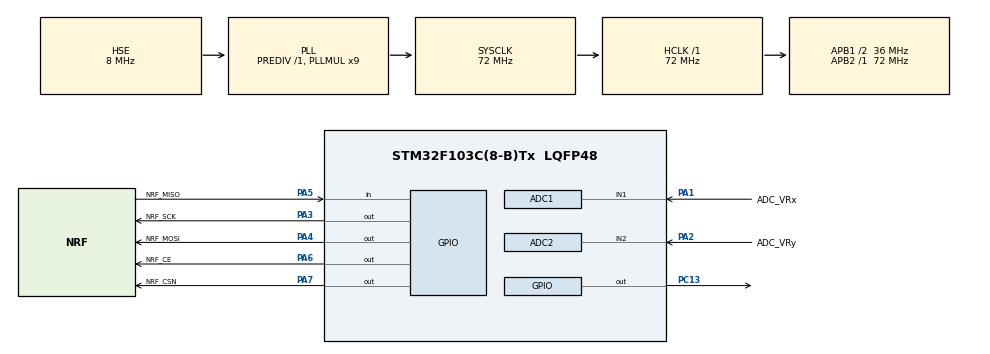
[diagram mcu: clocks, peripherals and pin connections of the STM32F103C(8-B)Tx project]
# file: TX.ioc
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ADC1.Channel-0\#ChannelRegularConversion=ADC_CHANNEL_1
ADC1.ContinuousConvMode=ENABLE
ADC1.NbrOfConversionFlag=1
ADC1.Rank-0\#ChannelRegularConversion=1
ADC1.SamplingTime-0\#ChannelRegularConversion=ADC_SAMPLETIME_1CYCLE_5
ADC1.master=1
ADC2.Channel-0\#ChannelRegularConversion=ADC_CHANNEL_2
ADC2.ContinuousConvMode=ENABLE
ADC2.NbrOfConversionFlag=1
ADC2.Rank-0\#ChannelRegularConversion=1
ADC2.SamplingTime-0\#ChannelRegularConversion=ADC_SAMPLETIME_1CYCLE_5
Mcu.Family=STM32F1
Mcu.Name=STM32F103C(8-B)Tx
Mcu.Package=LQFP48
NVIC.PriorityGroup=NVIC_PRIORITYGROUP_4
PA1.GPIO_Label=ADC_VRx
PA1.Signal=ADCx_IN1
PA13.Mode=Serial_Wire
PA13.Signal=SYS_JTMS-SWDIO
PA14.Mode=Serial_Wire
PA14.Signal=SYS_JTCK-SWCLK
PA2.GPIO_Label=ADC_VRy
PA2.Signal=ADCx_IN2
PA3.GPIO_Label=NRF_SCK
PA3.GPIO_Speed=GPIO_SPEED_FREQ_HIGH
PA3.Signal=GPIO_Output
PA4.GPIO_Label=NRF_MOSI
PA4.GPIO_Speed=GPIO_SPEED_FREQ_HIGH
PA4.Signal=GPIO_Output
PA5.GPIO_Label=NRF_MISO
PA5.Signal=GPIO_Input
PA6.GPIO_Label=NRF_CE
PA6.GPIO_Speed=GPIO_SPEED_FREQ_HIGH
PA6.Signal=GPIO_Output
PA7.GPIO_Label=NRF_CSN
PA7.GPIO_Speed=GPIO_SPEED_FREQ_HIGH
PA7.Signal=GPIO_Output
PC13-TAMPER-RTC.Signal=GPIO_Output
PD0-OSC_IN.Mode=HSE-External-Oscillator
PD0-OSC_IN.Signal=RCC_OSC_IN
PD1-OSC_OUT.Mode=HSE-External-Oscillator
PD1-OSC_OUT.Signal=RCC_OSC_OUT
ProjectManager.HeapSize=0x200
ProjectManager.StackSize=0x400
ProjectManager.TargetToolchain=MDK-ARM V5.32
RCC.ADCPresc=RCC_ADCPCLK2_DIV6
RCC.AHBFreq_Value=72000000
RCC.APB1CLKDivider=RCC_HCLK_DIV2
RCC.APB1Freq_Value=36000000
RCC.APB1TimFreq_Value=72000000
RCC.APB2Freq_Value=72000000
RCC.APB2TimFreq_Value=72000000
RCC.HCLKFreq_Value=72000000
RCC.PLLMUL=RCC_PLL_MUL9
RCC.PLLSourceVirtual=RCC_PLLSOURCE_HSE
RCC.SYSCLKFreq_VALUE=72000000
RCC.SYSCLKSource=RCC_SYSCLKSOURCE_PLLCLK
RCC.USBFreq_Value=72000000
SH.ADCx_IN1.0=ADC1_IN1,IN1
SH.ADCx_IN2.0=ADC2_IN2,IN2
board=MACHPHAT_NRF24L01

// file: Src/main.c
/* USER CODE BEGIN Header */
/**
  ******************************************************************************
  * @file           : main.c
  * @brief          : Main program body
  ******************************************************************************
  * @attention
  *
  * Copyright (c) 2023 STMicroelectronics.
  * All rights reserved.
  *
  * This software is licensed under terms that can be found in the LICENSE file
  * in the root directory of this software component.
  * If no LICENSE file comes with this software, it is provided AS-IS.
  *
  ******************************************************************************
  */
/* USER CODE END Header */
#include "main.h"

/* USER CODE BEGIN Includes */
#include "NRF24L01.h"
/* USER CODE END Includes */

ADC_HandleTypeDef hadc1;
ADC_HandleTypeDef hadc2;

/* USER CODE BEGIN PV */
uint16_t readValue_X = 0;
uint16_t readValue_Y = 0;
uint16_t adc_read = 0;

uint8_t ADC_TXBUFF[9];
/* USER CODE END PV */

void SystemClock_Config(void);
static void MX_GPIO_Init(void);
static void MX_ADC1_Init(void);
static void MX_ADC2_Init(void);

int main(void)
{

  /* MCU Configuration--------------------------------------------------------*/

  /* Reset of all peripherals, Initializes the Flash interface and the Systick. */
  HAL_Init();

  /* Configure the system clock */
  SystemClock_Config();

  /* Initialize all configured peripherals */
  MX_GPIO_Init();
  MX_ADC1_Init();
  MX_ADC2_Init();
  /* USER CODE BEGIN 2 */
	HAL_ADC_Start(&hadc1);
	HAL_ADC_Start(&hadc2);

	//NRF24
	NRF24_Init();
	NRF24_SetTX(); //chon chuc nang gui du lieu
  /* USER CODE END 2 */

  /* Infinite loop */
  /* USER CODE BEGIN WHILE */
  while (1)
  {
		HAL_ADC_PollForConversion(&hadc1, 100);
		readValue_X = HAL_ADC_GetValue(&hadc1);
		HAL_ADC_PollForConversion(&hadc2, 100);
		readValue_Y = HAL_ADC_GetValue(&hadc2);
		//HAL_Delay(10);

		/* change from decimal to character */
		//X-axis
		ADC_TXBUFF[0] = (readValue_X/1000) + 48;
		ADC_TXBUFF[1] = (readValue_X % 1000)/100 + 48;
		ADC_TXBUFF[2] = (readValue_X % 100)/10 + 48;
		ADC_TXBUFF[3] = readValue_X%10 + 48;
		//Y-axis
		ADC_TXBUFF[4] = (readValue_Y/1000) + 48;
		ADC_TXBUFF[5] = (readValue_Y % 1000)/100 + 48;
		ADC_TXBUFF[6] = (readValue_Y % 100)/10 + 48;
		ADC_TXBUFF[7] = readValue_Y%10 + 48;
		ADC_TXBUFF[8] = '\0';

		//send data
		//CTR_nrfSendPacket(ADC_TXBUFF);
		NRF24_Transmit(ADC_TXBUFF);
		NRF24_SetTX();

		HAL_GPIO_TogglePin(GPIOC, GPIO_PIN_13);
		//HAL_Delay(10);
    /* USER CODE END WHILE */

  }
}

void SystemClock_Config(void)
{
  RCC_OscInitTypeDef RCC_OscInitStruct = {0};
  RCC_ClkInitTypeDef RCC_ClkInitStruct = {0};
  RCC_PeriphCLKInitTypeDef PeriphClkInit = {0};

  /** Initializes the RCC Oscillators according to the specified parameters
  * in the RCC_OscInitTypeDef structure.
  */
  RCC_OscInitStruct.OscillatorType = RCC_OSCILLATORTYPE_HSE;
  RCC_OscInitStruct.HSEState = RCC_HSE_ON;
  RCC_OscInitStruct.HSEPredivValue = RCC_HSE_PREDIV_DIV1;
  RCC_OscInitStruct.HSIState = RCC_HSI_ON;
  RCC_OscInitStruct.PLL.PLLState = RCC_PLL_ON;
  RCC_OscInitStruct.PLL.PLLSource = RCC_PLLSOURCE_HSE;
  RCC_OscInitStruct.PLL.PLLMUL = RCC_PLL_MUL9;
  if (HAL_RCC_OscConfig(&RCC_OscInitStruct) != HAL_OK)
  {
    Error_Handler();
  }

  /** Initializes the CPU, AHB and APB buses clocks
  */
  RCC_ClkInitStruct.ClockType = RCC_CLOCKTYPE_HCLK|RCC_CLOCKTYPE_SYSCLK
                              |RCC_CLOCKTYPE_PCLK1|RCC_CLOCKTYPE_PCLK2;
  RCC_ClkInitStruct.SYSCLKSource = RCC_SYSCLKSOURCE_PLLCLK;
  RCC_ClkInitStruct.AHBCLKDivider = RCC_SYSCLK_DIV1;
  RCC_ClkInitStruct.APB1CLKDivider = RCC_HCLK_DIV2;
  RCC_ClkInitStruct.APB2CLKDivider = RCC_HCLK_DIV1;

  if (HAL_RCC_ClockConfig(&RCC_ClkInitStruct, FLASH_LATENCY_2) != HAL_OK)
  {
    Error_Handler();
  }
  PeriphClkInit.PeriphClockSelection = RCC_PERIPHCLK_ADC;
  PeriphClkInit.AdcClockSelection = RCC_ADCPCLK2_DIV6;
  if (HAL_RCCEx_PeriphCLKConfig(&PeriphClkInit) != HAL_OK)
  {
    Error_Handler();
  }
}

static void MX_ADC1_Init(void)
{

  ADC_ChannelConfTypeDef sConfig = {0};

  /** Common config
  */
  hadc1.Instance = ADC1;
  hadc1.Init.ScanConvMode = ADC_SCAN_DISABLE;
  hadc1.Init.ContinuousConvMode = ENABLE;
  hadc1.Init.DiscontinuousConvMode = DISABLE;
  hadc1.Init.ExternalTrigConv = ADC_SOFTWARE_START;
  hadc1.Init.DataAlign = ADC_DATAALIGN_RIGHT;
  hadc1.Init.NbrOfConversion = 1;
  if (HAL_ADC_Init(&hadc1) != HAL_OK)
  {
    Error_Handler();
  }

  /** Configure Regular Channel
  */
  sConfig.Channel = ADC_CHANNEL_1;
  sConfig.Rank = ADC_REGULAR_RANK_1;
  sConfig.SamplingTime = ADC_SAMPLETIME_1CYCLE_5;
  if (HAL_ADC_ConfigChannel(&hadc1, &sConfig) != HAL_OK)
  {
    Error_Handler();
  }

}

static void MX_ADC2_Init(void)
{

  ADC_ChannelConfTypeDef sConfig = {0};

  /** Common config
  */
  hadc2.Instance = ADC2;
  hadc2.Init.ScanConvMode = ADC_SCAN_DISABLE;
  hadc2.Init.ContinuousConvMode = ENABLE;
  hadc2.Init.DiscontinuousConvMode = DISABLE;
  hadc2.Init.ExternalTrigConv = ADC_SOFTWARE_START;
  hadc2.Init.DataAlign = ADC_DATAALIGN_RIGHT;
  hadc2.Init.NbrOfConversion = 1;
  if (HAL_ADC_Init(&hadc2) != HAL_OK)
  {
    Error_Handler();
  }

  /** Configure Regular Channel
  */
  sConfig.Channel = ADC_CHANNEL_2;
  sConfig.Rank = ADC_REGULAR_RANK_1;
  sConfig.SamplingTime = ADC_SAMPLETIME_1CYCLE_5;
  if (HAL_ADC_ConfigChannel(&hadc2, &sConfig) != HAL_OK)
  {
    Error_Handler();
  }

}

static void MX_GPIO_Init(void)
{
  GPIO_InitTypeDef GPIO_InitStruct = {0};

  /* GPIO Ports Clock Enable */
  __HAL_RCC_GPIOC_CLK_ENABLE();
  __HAL_RCC_GPIOD_CLK_ENABLE();
  __HAL_RCC_GPIOA_CLK_ENABLE();

  /*Configure GPIO pin Output Level */
  HAL_GPIO_WritePin(GPIOC, GPIO_PIN_13, GPIO_PIN_RESET);

  /*Configure GPIO pin Output Level */
  HAL_GPIO_WritePin(GPIOA, NRF_SCK_Pin|NRF_MOSI_Pin|NRF_CE_Pin|NRF_CSN_Pin, GPIO_PIN_RESET);

  /*Configure GPIO pin : PC13 */
  GPIO_InitStruct.Pin = GPIO_PIN_13;
  GPIO_InitStruct.Mode = GPIO_MODE_OUTPUT_PP;
  GPIO_InitStruct.Pull = GPIO_NOPULL;
  GPIO_InitStruct.Speed = GPIO_SPEED_FREQ_LOW;
  HAL_GPIO_Init(GPIOC, &GPIO_InitStruct);

  /*Configure GPIO pins : NRF_SCK_Pin NRF_MOSI_Pin NRF_CE_Pin NRF_CSN_Pin */
  GPIO_InitStruct.Pin = NRF_SCK_Pin|NRF_MOSI_Pin|NRF_CE_Pin|NRF_CSN_Pin;
  GPIO_InitStruct.Mode = GPIO_MODE_OUTPUT_PP;
  GPIO_InitStruct.Pull = GPIO_NOPULL;
  GPIO_InitStruct.Speed = GPIO_SPEED_FREQ_HIGH;
  HAL_GPIO_Init(GPIOA, &GPIO_InitStruct);

  /*Configure GPIO pin : NRF_MISO_Pin */
  GPIO_InitStruct.Pin = NRF_MISO_Pin;
  GPIO_InitStruct.Mode = GPIO_MODE_INPUT;
  GPIO_InitStruct.Pull = GPIO_NOPULL;
  HAL_GPIO_Init(NRF_MISO_GPIO_Port, &GPIO_InitStruct);

}

void Error_Handler(void)
{
  __disable_irq();
  while (1)
  {
  }
}
